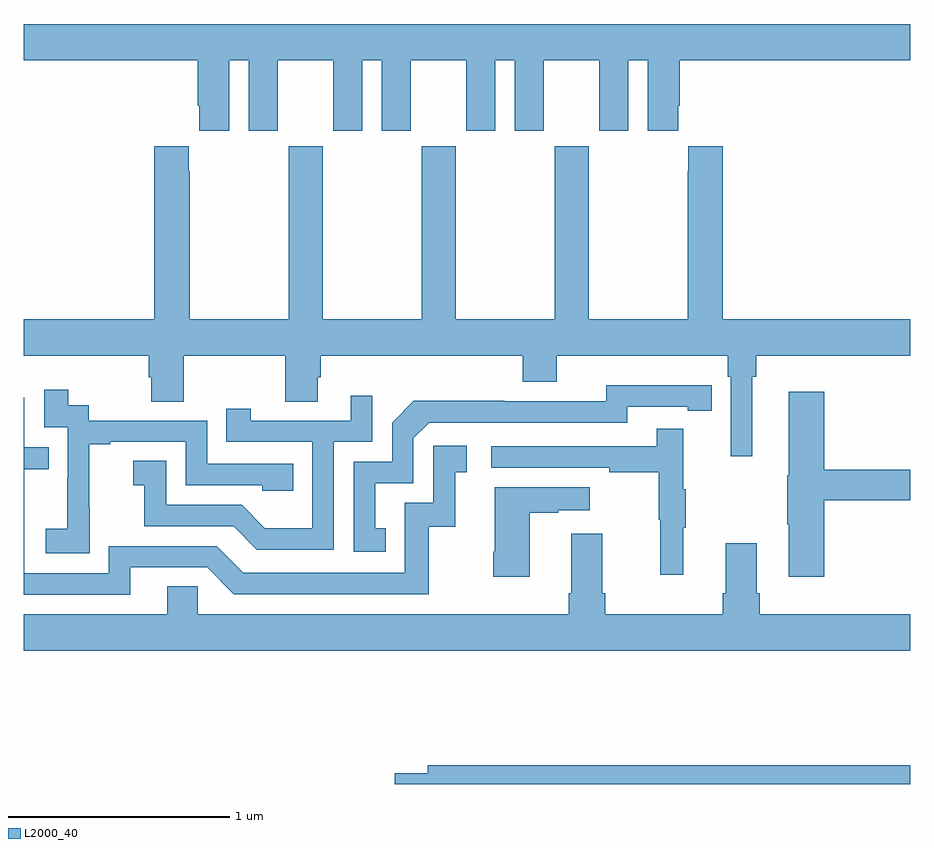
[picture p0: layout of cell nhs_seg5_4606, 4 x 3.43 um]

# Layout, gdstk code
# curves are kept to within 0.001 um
import gdstk
lib = gdstk.Library(unit=1e-6, precision=1e-09)
def P(c, l, *ps):  # polygons
    for p in ps: c.add(gdstk.Polygon(p, *l))
L2000_40 = (2000, 40)

nhs_seg5_4606 = lib.new_cell('nhs_seg5_4606')
P(nhs_seg5_4606, L2000_40, [(381.928,886.064),(382.016,886.064),(382.016,885.747),(382.147,885.747),(382.147,886.064),(382.397,886.064),(382.397,885.747),(382.528,885.747),(382.528,886.064),(382.616,886.064),(382.616,885.747),(382.747,885.747),(382.747,886.064),(382.997,886.064),(382.997,885.747),(383.128,885.747),(383.128,886.064),(383.216,886.064),(383.216,885.747),(383.347,885.747),(383.347,886.064),(383.597,886.064),(383.597,885.747),(383.728,885.747),(383.728,886.064),(383.816,886.064),(383.816,885.747),(383.953,885.747),(383.953,885.859),(383.96,885.859),(383.96,886.064),(385,886.064),(385,886.228),(381,886.228),(381,886.064),(381.785,886.064),(381.785,885.859),(381.791,885.859),(381.791,885.747),(381.928,885.747)],
  [(384.286,884.636),(384.305,884.636),(384.305,884.732),(385,884.732),(385,884.896),(384.155,884.896),(384.155,885.676),(383.999,885.676),(383.999,885.563),(383.995,885.563),(383.995,884.896),(383.55,884.896),(383.55,885.676),(383.395,885.676),(383.395,884.896),(382.95,884.896),(382.95,885.676),(382.795,885.676),(382.795,884.896),(382.35,884.896),(382.35,885.676),(382.195,885.676),(382.195,884.896),(381.75,884.896),(381.75,885.563),(381.745,885.563),(381.745,885.676),(381.59,885.676),(381.59,884.896),(381,884.896),(381,884.732),(381.563,884.732),(381.563,884.634),(381.575,884.634),(381.575,884.524),(381.723,884.524),(381.723,884.732),(382.18,884.732),(382.18,884.524),(382.327,884.524),(382.327,884.634),(382.34,884.634),(382.34,884.732),(383.252,884.732),(383.252,884.615),(383.404,884.615),(383.404,884.732),(384.176,884.732),(384.176,884.636),(384.189,884.636),(384.189,884.277),(384.286,884.277)],
  [(382.634,883.953),(382.585,883.953),(382.585,884.157),(382.758,884.157),(382.758,884.358),(382.83,884.43),(383.724,884.43),(383.724,884.502),(383.996,884.502),(383.996,884.482),(384.104,884.482),(384.104,884.598),(383.628,884.599),(383.628,884.526),(383.168,884.526),(383.168,884.528),(382.76,884.528),(382.662,884.43),(382.662,884.253),(382.488,884.253),(382.488,883.848),(382.634,883.848)],
  [(381.297,884.047),(381.296,884.047),(381.296,884.331),(381.391,884.331),(381.391,884.343),(381.732,884.343),(381.732,884.148),(382.077,884.148),(382.077,884.121),(382.217,884.121),(382.217,884.244),(381.828,884.244),(381.828,884.439),(381.294,884.439),(381.294,884.508),(381.202,884.508),(381.202,884.578),(381.093,884.578),(381.093,884.409),(381.198,884.409),(381.198,884.18),(381.197,884.18),(381.197,883.951),(381.099,883.951),(381.099,883.841),(381.297,883.841)],
  [(384.611,884.08),(385,884.08),(385,884.216),(384.611,884.216),(384.611,884.569),(384.452,884.569),(384.452,884.193),(384.445,884.193),(384.445,883.972),(384.452,883.972),(384.452,883.734),(384.611,883.734)],
  [(382.398,884.343),(382.572,884.343),(382.572,884.551),(382.475,884.551),(382.475,884.439),(382.024,884.439),(382.024,884.491),(381.913,884.491),(381.913,884.343),(382.302,884.343),(382.302,883.954),(382.088,883.954),(381.984,884.058),(381.642,884.058),(381.642,884.257),(381.495,884.257),(381.495,884.147),(381.544,884.147),(381.544,883.962),(381.947,883.962),(382.052,883.857),(382.398,883.857)],
  [(381.481,883.776),(381.828,883.776),(381.948,883.656),(382.828,883.656),(382.828,883.959),(382.946,883.959),(382.946,884.205),(382.999,884.205),(382.999,884.326),(382.848,884.326),(382.848,884.067),(382.719,884.067),(382.719,883.752),(381.99,883.752),(381.87,883.872),(381.384,883.872),(381.384,883.749),(381.003,883.749),(381.003,884.218),(381.113,884.218),(381.113,884.319),(381.003,884.319),(381.003,884.544),(381,884.544),(381,883.653),(381.481,883.653)],
  [(383.975,883.955),(383.986,883.955),(383.986,884.129),(383.975,884.129),(383.975,884.401),(383.857,884.401),(383.857,884.322),(383.109,884.322),(383.109,884.226),(383.641,884.226),(383.641,884.206),(383.865,884.206),(383.865,883.992),(383.872,883.992),(383.872,883.743),(383.975,883.743)],
  [(383.284,884.023),(383.411,884.023),(383.411,884.033),(383.554,884.033),(383.554,884.137),(383.126,884.137),(383.126,883.846),(383.119,883.846),(383.119,883.734),(383.284,883.734)],
  [(385,883.564),(384.32,883.564),(384.32,883.66),(384.307,883.66),(384.307,883.885),(384.167,883.885),(384.167,883.66),(384.155,883.66),(384.155,883.564),(383.624,883.564),(383.624,883.66),(383.611,883.66),(383.611,883.927),(383.471,883.927),(383.471,883.66),(383.459,883.66),(383.459,883.564),(381.786,883.564),(381.786,883.691),(381.647,883.691),(381.647,883.564),(381,883.564),(381,883.4),(385,883.4)],
  [(385,882.884),(382.823,882.884),(382.823,882.848),(382.674,882.848),(382.674,882.799),(385,882.799)])

lib.write_gds('nhs_seg5_4606.gds')
